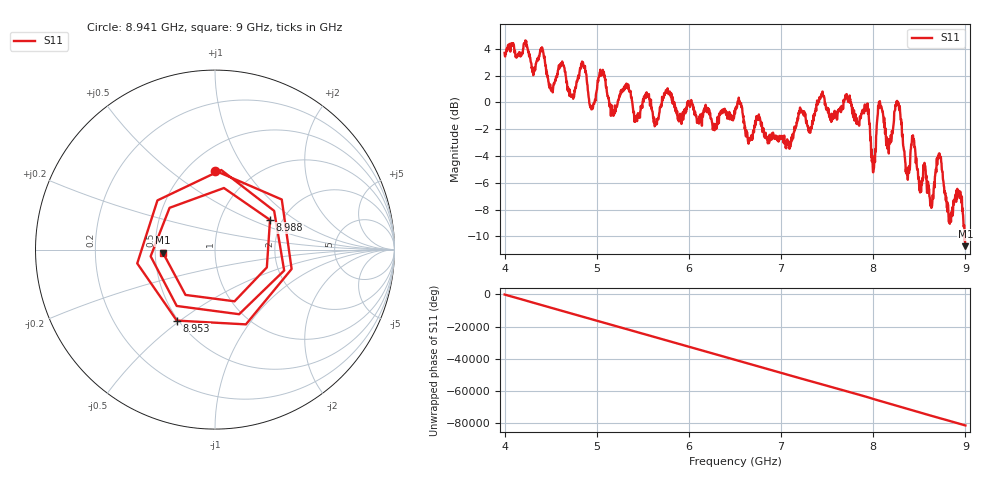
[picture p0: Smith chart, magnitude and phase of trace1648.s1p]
! Created with skrf 1.8.0 (http://scikit-rf.org).
# Hz S RI R 50.0
!freq ReS11 ImS11
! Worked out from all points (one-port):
!   1601 points, 4 GHz to 9 GHz, reference 50 ohm
!   lowest |S11| = -10.7 dB at 9 GHz (marker M1), VSWR 1.82, Z = 27.5 - j1.01 ohm
!   |S11| at or under -10 dB: 8.990207 GHz to end of sweep
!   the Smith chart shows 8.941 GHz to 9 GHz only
!   S11 on the Smith chart (normalised r, x): 8.941 GHz: 0.68, +0.74; 8.953 GHz: 0.49, -0.49; 8.988 GHz: 1.73, +0.65; 9 GHz: 0.55, -0.02
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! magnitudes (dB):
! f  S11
! 4 GHz  3.7
! 4.406 GHz  4.1
! 4.506 GHz  0.9
! 4.625 GHz  3.1
! 4.728 GHz  0.5
! 4.847 GHz  2.8
! 4.944 GHz  -0.4
! 5.053 GHz  2.1
! 5.162 GHz  -0.9
! 5.25 GHz  0.6
! 5.875 GHz  -1.0
! 6.5 GHz  -0.8
! 7.125 GHz  -2.4
! 7.75 GHz  0.3
! 7.928 GHz  -0.3
! 8.003 GHz  -5.0
! 8.069 GHz  0.1
! 8.162 GHz  -3.0
! 8.266 GHz  -0.2
! 8.375 GHz  -5.8
! 8.431 GHz  -2.5
! 8.628 GHz  -7.5
! 8.712 GHz  -3.8
! 8.825 GHz  -8.6
! 8.941 GHz  -7.1
! 8.953 GHz  -7.0
! 8.988 GHz  -9.2
! 9 GHz  -10.7
